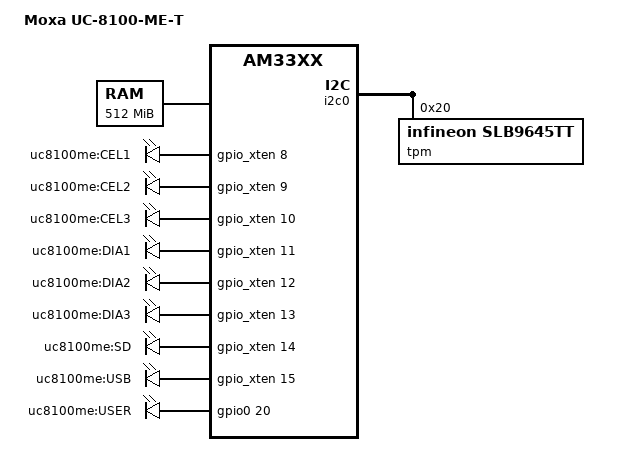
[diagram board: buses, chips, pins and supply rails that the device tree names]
// SPDX-License-Identifier: GPL-2.0-only
/*
 * Copyright (C) 2017 MOXA Inc. - https://www.moxa.com/
 *
 * Author: SZ Lin (林上智) <sz.lin@moxa.com>
 */
/dts-v1/;

#include "am335x-moxa-uc-8100-common.dtsi"

/ {
	model = "Moxa UC-8100-ME-T";
	compatible = "moxa,uc-8100-me-t", "ti,am33xx";

	memory {
		device_type = "memory";
		reg = <0x80000000 0x20000000>; /* 512 MB */
	};

	leds {
		compatible = "gpio-leds";
		led1 {
			label = "uc8100me:CEL1";
			gpios = <&gpio_xten 8 0>;
			default-state = "off";
		};

		led2 {
			label = "uc8100me:CEL2";
			gpios = <&gpio_xten 9 0>;
			default-state = "off";
		};

		led3 {
			label = "uc8100me:CEL3";
			gpios = <&gpio_xten 10 0>;
			default-state = "off";
		};

		led4 {
			label = "uc8100me:DIA1";
			gpios = <&gpio_xten 11 0>;
			default-state = "off";
		};
		led5 {
			label = "uc8100me:DIA2";
			gpios = <&gpio_xten 12 0>;
			default-state = "off";
		};
		led6 {
			label = "uc8100me:DIA3";
			gpios = <&gpio_xten 13 0>;
			default-state = "off";
		};
		led7 {
			label = "uc8100me:SD";
			gpios = <&gpio_xten 14 0>;
			default-state = "off";
		};
		led8 {
			label = "uc8100me:USB";
			gpios = <&gpio_xten 15 0>;
			default-state = "off";
		};
		led9 {
			label = "uc8100me:USER";
			gpios = <&gpio0 20 GPIO_ACTIVE_HIGH>;
			default-state = "off";
		};
	};
};

&i2c0 {
	tpm: tpm@20 {
		compatible = "infineon,slb9645tt";
		reg = <0x20>;
	};
};

&tps {
	regulators {
		vdd1_reg: regulator@2 {
			/* VDD_MPU voltage limits 0.95V - 1.26V with +/-4% tolerance */
			regulator-name = "vdd_mpu";
			regulator-min-microvolt = <912500>;
			regulator-max-microvolt = <1378000>;
			regulator-boot-on;
			regulator-always-on;
		};

		vdd2_reg: regulator@3 {
			/* VDD_CORE voltage limits 0.95V - 1.1V with +/-4% tolerance */
			regulator-name = "vdd_core";
			regulator-min-microvolt = <912500>;
			regulator-max-microvolt = <1150000>;
			regulator-boot-on;
			regulator-always-on;
		};
	};
};

